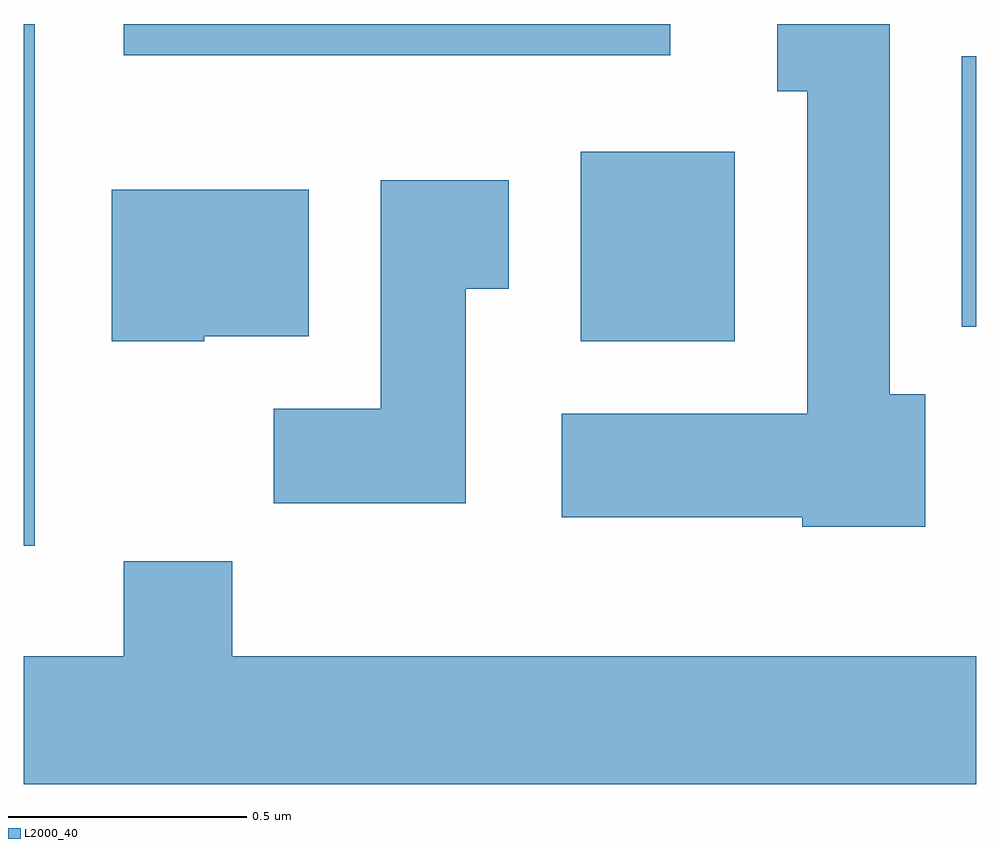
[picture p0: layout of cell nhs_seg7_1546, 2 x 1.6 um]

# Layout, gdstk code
import gdstk
lib = gdstk.Library(unit=1e-6, precision=1e-09)
def R(c, l, rs):  # rectangles x0, y0, x1, y1
    for r in rs: c.add(gdstk.rectangle(r[:2], r[2:], *l))
def P(c, l, *ps):  # polygons
    for p in ps: c.add(gdstk.Polygon(p, *l))
L2000_40 = (2000, 40)

nhs_seg7_1546 = lib.new_cell('nhs_seg7_1546')
R(nhs_seg7_1546, L2000_40, [(196.611,1708.156,196.634,1709.252), (197.781,1708.586,198.104,1708.984), (198.581,1708.616,198.611,1709.184), (196.821,1709.186,197.969,1709.252)])
P(nhs_seg7_1546, L2000_40, [(198.504,1708.474),(198.429,1708.474),(198.429,1709.252),(198.193,1709.252),(198.193,1709.111),(198.256,1709.111),(198.256,1708.434),(197.741,1708.434),(197.741,1708.216),(198.246,1708.216),(198.246,1708.196),(198.504,1708.196)],
  [(197.539,1708.696),(197.629,1708.696),(197.629,1708.924),(197.361,1708.924),(197.361,1708.444),(197.136,1708.444),(197.136,1708.246),(197.539,1708.246)],
  [(196.99,1708.596),(197.209,1708.596),(197.209,1708.904),(196.796,1708.904),(196.796,1708.586),(196.99,1708.586)],
  [(198.611,1707.924),(197.049,1707.924),(197.049,1708.124),(196.821,1708.124),(196.821,1707.924),(196.611,1707.924),(196.611,1707.656),(198.611,1707.656)])

lib.write_gds('nhs_seg7_1546.gds')
